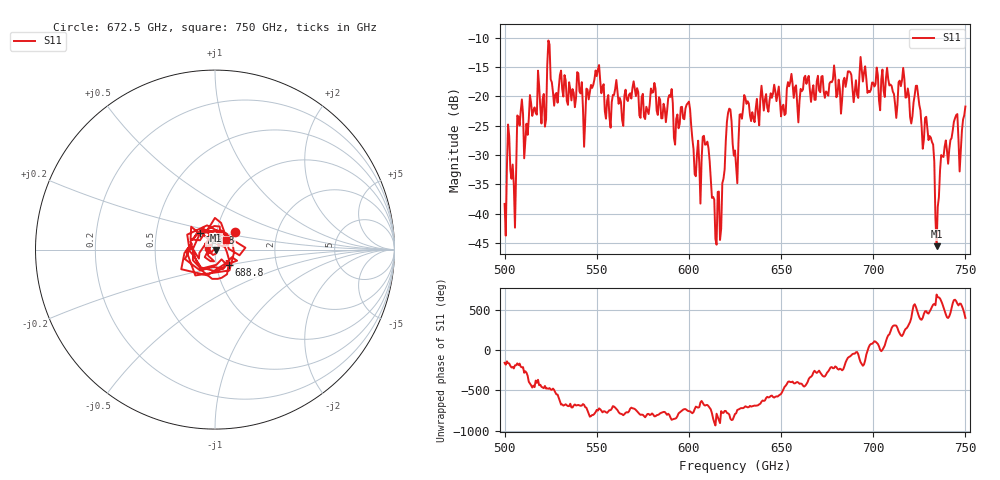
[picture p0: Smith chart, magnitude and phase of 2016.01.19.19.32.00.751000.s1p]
!Created with skrf (http://scikit-rf.org).
# GHz S RI R 50.0
!freq ReS11 ImS11
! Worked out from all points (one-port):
!   401 points, 500 GHz to 750 GHz, reference 50 ohm
!   lowest |S11| = -45.6 dB at 734.4 GHz (marker M1), VSWR 1.01, Z = 50.5 - j0.268 ohm
!   |S11| at or under -10 dB: start of sweep to end of sweep
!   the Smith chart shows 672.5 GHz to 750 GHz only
!   S11 on the Smith chart (normalised r, x): 672.5 GHz: 1.22, +0.25; 688.8 GHz: 1.14, -0.20; 723.8 GHz: 0.83, +0.15; 750 GHz: 1.13, +0.12
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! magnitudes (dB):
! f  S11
! 500 GHz  -38.3
! 502.5 GHz  -26.8
! 505 GHz  -35.1
! 508.1 GHz  -25.0
! 521.2 GHz  -19.6
! 524.4 GHz  -11.1
! 527.5 GHz  -19.6
! 531.2 GHz  -18.8
! 562.5 GHz  -20.3
! 580.6 GHz  -19.3
! 593.8 GHz  -23.1
! 599.4 GHz  -21.2
! 605 GHz  -27.5
! 609.4 GHz  -28.2
! 615.6 GHz  -36.3
! 621.2 GHz  -22.8
! 625 GHz  -29.2
! 630.6 GHz  -20.2
! 656.2 GHz  -17.9
! 672.5 GHz  -16.5
! 687.5 GHz  -15.8
! 688.8 GHz  -18.7
! 718.8 GHz  -18.6
! 723.8 GHz  -18.2
! 731.9 GHz  -27.8
! 734.4 GHz  -45.6
! 738.1 GHz  -30.3
! 750 GHz  -21.7
